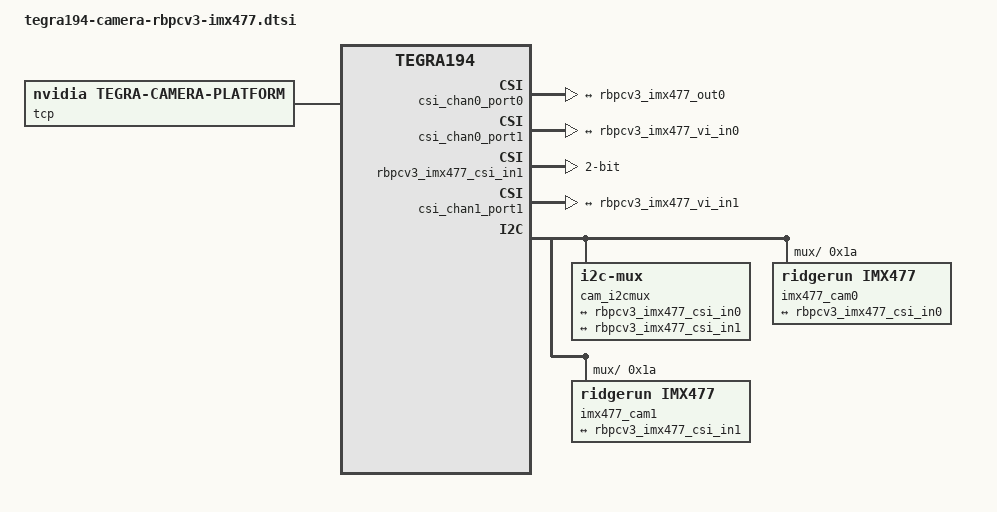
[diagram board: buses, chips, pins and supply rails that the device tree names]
/*
 * Copyright (c) 2020, RidgeRun.  All rights reserved.
 *
 * Contact us: support@ridgerun.com
 *
 * This program is free software; you can redistribute it and/or modify
 * it under the terms of the GNU General Public License as published by
 * the Free Software Foundation; either version 2 of the License, or
 * (at your option) any later version.
 *
 * This program is distributed in the hope that it will be useful, but WITHOUT
 * ANY WARRANTY; without even the implied warranty of MERCHANTABILITY or
 * FITNESS FOR A PARTICULAR PURPOSE.  See the GNU General Public License for
 * more details.
 *
 * You should have received a copy of the GNU General Public License
 * along with this program.  If not, see <http://www.gnu.org/licenses/>.
 */
#include <dt-bindings/media/camera.h>

/ {
	host1x {
		vi@15c10000  {
			num-channels = <2>;
			ports {
				#address-cells = <1>;
				#size-cells = <0>;
				vi_port0: port@0 {
					reg = <0>;
					rbpcv3_imx477_vi_in0: endpoint {
						status = "okay";
						port-index = <0>;
						bus-width = <2>;
						remote-endpoint = <&rbpcv3_imx477_csi_out0>;
					};
				};
				vi_port1: port@1 {
					reg = <1>;
					rbpcv3_imx477_vi_in1: endpoint {
						status = "okay";
						port-index = <2>;
						bus-width = <2>;
						remote-endpoint = <&rbpcv3_imx477_csi_out1>;
					};
				};
			};
		};

		nvcsi@15a00000 {
			num-channels = <2>;
			#address-cells = <1>;
			#size-cells = <0>;
			csi_chan0: channel@0 {
				reg = <0>;
				ports {
					#address-cells = <1>;
					#size-cells = <0>;
					csi_chan0_port0: port@0 {
						reg = <0>;
						status = "okay";
						rbpcv3_imx477_csi_in0: endpoint@0 {
							port-index = <0>;
							bus-width = <2>;
							remote-endpoint = <&rbpcv3_imx477_out0>;
						};
					};
					csi_chan0_port1: port@1 {
						reg = <1>;
						status = "okay";
						rbpcv3_imx477_csi_out0: endpoint@1 {
							status = "okay";
							remote-endpoint = <&rbpcv3_imx477_vi_in0>;
						};
					};
				};
			};
			csi_chan1: channel@1 {
				reg = <1>;
				ports {
					#address-cells = <1>;
					#size-cells = <0>;
					csi_chan1_port0: port@0 {
						reg = <0>;
						rbpcv3_imx477_csi_in1: endpoint@2 {
							port-index = <2>;
							bus-width = <2>;
							status = "okay";
							remote-endpoint = <&rbpcv3_imx477_out1>;
						};
					};
					csi_chan1_port1: port@1 {
						reg = <1>;
						status = "okay";
						rbpcv3_imx477_csi_out1: endpoint@3 {
							remote-endpoint = <&rbpcv3_imx477_vi_in1>;
						};
					};
				};
			};
		};
	};

	cam_i2cmux {
		i2c_0:i2c@0 {
			imx477_cam0: rbpcv3_imx477_a@1a {
				compatible = "ridgerun,imx477";
				/* I2C device address */
				reg = <0x1a>;

				/* V4L2 device node location */
				devnode = "video0";

				/* Physical dimensions of sensor */
				physical_w = "7.564";
				physical_h = "5.476";

				sensor_model = "imx477";

				use_sensor_mode_id = "true";

				mode0 { /* IMX477_MODE_4032X3040 */
					mclk_khz = "24000";
					num_lanes = "2";
					tegra_sinterface = "serial_a";
					phy_mode = "DPHY";
					discontinuous_clk = "no";
					dpcm_enable = "false";
					cil_settletime = "0";

					active_w = "4032";
					active_h = "3040";
					mode_type = "bayer";
					pixel_phase = "rggb";
					csi_pixel_bit_depth = "10";
					readout_orientation = "90";
					line_length = "9024";
					inherent_gain = "1";
					mclk_multiplier = "80";
					pix_clk_hz = "840000000";

					gain_factor = "16";
					framerate_factor = "1000000";
					exposure_factor = "1000000";
					min_gain_val = "16"; /* 1.00x */
					max_gain_val = "356"; /* 22x */
					step_gain_val = "1";
					default_gain = "16"; /* 1.00x */
					min_hdr_ratio = "1";
					max_hdr_ratio = "1";
					min_framerate = "2000000"; /* 2.0 fps */
					max_framerate = "30000000"; /* 30.0 fps */
					step_framerate = "1";
					default_framerate = "30000000"; /* 30.0 fps */
					min_exp_time = "13"; /* us */
					max_exp_time = "683709"; /* us */
					step_exp_time = "1";
					default_exp_time = "2495"; /* us */

					embedded_metadata_height = "2";
				};
				mode1 { /* IMX477_MODE_1920X1080 */
					mclk_khz = "24000";
					num_lanes = "2";
					tegra_sinterface = "serial_a";
					phy_mode = "DPHY";
					discontinuous_clk = "no";
					dpcm_enable = "false";
					cil_settletime = "0";

					active_w = "1920";
					active_h = "1080";
					mode_type = "bayer";
					pixel_phase = "rggb";
					csi_pixel_bit_depth = "10";
					readout_orientation = "90";
					line_length = "9024";
					inherent_gain = "1";
					mclk_multiplier = "80";
					pix_clk_hz = "840000000";

					gain_factor = "16";
					framerate_factor = "1000000";
					exposure_factor = "1000000";
					min_gain_val = "16"; /* 1.00x */
					max_gain_val = "356"; /* 22x */
					step_gain_val = "1";
					default_gain = "16"; /* 1.00x */
					min_hdr_ratio = "1";
					max_hdr_ratio = "1";
					min_framerate = "2000000"; /* 2.0 fps */
					max_framerate = "60000000"; /* 60.0 fps */
					step_framerate = "1";
					default_framerate = "60000000"; /* 60.0 fps */
					min_exp_time = "13"; /* us */
					max_exp_time = "683709"; /* us */
					step_exp_time = "1";
					default_exp_time = "2495"; /* us */

					embedded_metadata_height = "2";
				};
				mode2 { /* IMX477_MODE_1920X1440 */
					mclk_khz = "24000";
					num_lanes = "2";
					tegra_sinterface = "serial_a";
					phy_mode = "DPHY";
					discontinuous_clk = "no";
					dpcm_enable = "false";
					cil_settletime = "0";

					active_w = "1920";
					active_h = "1440";
					mode_type = "bayer";
					pixel_phase = "rggb";
					csi_pixel_bit_depth = "10";
					readout_orientation = "90";
					line_length = "6524";
					inherent_gain = "1";
					mclk_multiplier = "80";
					pix_clk_hz = "840000000";

					gain_factor = "16";
					framerate_factor = "1000000";
					exposure_factor = "1000000";
					min_gain_val = "16"; /* 1.00x */
					max_gain_val = "356"; /* 22x */
					step_gain_val = "1";
					default_gain = "16"; /* 1.00x */
					min_hdr_ratio = "1";
					max_hdr_ratio = "1";
					min_framerate = "2000000"; /* 2.0 fps */
					max_framerate = "60000000"; /* 60.0 fps */
					step_framerate = "1";
					default_framerate = "60000000"; /* 60.0 fps */
					min_exp_time = "13"; /* us */
					max_exp_time = "683709"; /* us */
					step_exp_time = "1";
					default_exp_time = "2495"; /* us */

					embedded_metadata_height = "2";
				};
				mode3 { /* IMX477_MODE_2028X1520 */
					mclk_khz = "24000";
					num_lanes = "2";
					tegra_sinterface = "serial_a";
					phy_mode = "DPHY";
					discontinuous_clk = "no";
					dpcm_enable = "false";
					cil_settletime = "0";

					active_w = "2028";
					active_h = "1520";
					mode_type = "bayer";
					pixel_phase = "rggb";
					csi_pixel_bit_depth = "10";
					readout_orientation = "90";
					line_length = "6524";
					inherent_gain = "1";
					mclk_multiplier = "80";
					pix_clk_hz = "840000000";

					gain_factor = "16";
					framerate_factor = "1000000";
					exposure_factor = "1000000";
					min_gain_val = "16"; /* 1.00x */
					max_gain_val = "356"; /* 22x */
					step_gain_val = "1";
					default_gain = "16"; /* 1.00x */
					min_hdr_ratio = "1";
					max_hdr_ratio = "1";
					min_framerate = "2000000"; /* 2.0 fps */
					max_framerate = "60000000"; /* 60.0 fps */
					step_framerate = "1";
					default_framerate = "60000000"; /* 60.0 fps */
					min_exp_time = "13"; /* us */
					max_exp_time = "683709"; /* us */
					step_exp_time = "1";
					default_exp_time = "2495"; /* us */

					embedded_metadata_height = "2";
				};

				ports {
					#address-cells = <1>;
					#size-cells = <0>;
					port@0 {
						reg = <0>;
						rbpcv3_imx477_out0: endpoint {
							port-index = <0>;
							bus-width = <2>;
							remote-endpoint = <&rbpcv3_imx477_csi_in0>;
						};
					};
				};
			};
		};
		i2c_1: i2c@1 {
			imx477_cam1: rbpcv3_imx477_c@1a {
				compatible = "ridgerun,imx477";
				/* I2C device address */
				reg = <0x1a>;

				/* V4L2 device node location */
				devnode = "video1";

				/* Physical dimensions of sensor */
				physical_w = "7.564";
				physical_h = "5.476";

				sensor_model = "imx477";

				use_sensor_mode_id = "true";

				mode0 { /* IMX477_MODE_4032X3040 */
					mclk_khz = "24000";
					num_lanes = "2";
					tegra_sinterface = "serial_c";
					phy_mode = "DPHY";
					discontinuous_clk = "no";
					dpcm_enable = "false";
					cil_settletime = "0";

					active_w = "4032";
					active_h = "3040";
					mode_type = "bayer";
					pixel_phase = "rggb";
					csi_pixel_bit_depth = "10";
					readout_orientation = "90";
					line_length = "9024";
					inherent_gain = "1";
					mclk_multiplier = "80";
					pix_clk_hz = "840000000";

					gain_factor = "16";
					framerate_factor = "1000000";
					exposure_factor = "1000000";
					min_gain_val = "16"; /* 1.00x */
					max_gain_val = "356"; /* 22x */
					step_gain_val = "1";
					default_gain = "16"; /* 1.00x */
					min_hdr_ratio = "1";
					max_hdr_ratio = "1";
					min_framerate = "2000000"; /* 2.0 fps */
					max_framerate = "30000000"; /* 30.0 fps */
					step_framerate = "1";
					default_framerate = "30000000"; /* 30.0 fps */
					min_exp_time = "13"; /* us */
					max_exp_time = "683709"; /* us */
					step_exp_time = "1";
					default_exp_time = "2495"; /* us */

					embedded_metadata_height = "2";
				};
				mode1 { /* IMX477_MODE_1920X1080 */
					mclk_khz = "24000";
					num_lanes = "2";
					tegra_sinterface = "serial_c";
					phy_mode = "DPHY";
					discontinuous_clk = "no";
					dpcm_enable = "false";
					cil_settletime = "0";

					active_w = "1920";
					active_h = "1080";
					mode_type = "bayer";
					pixel_phase = "rggb";
					csi_pixel_bit_depth = "10";
					readout_orientation = "90";
					line_length = "9024";
					inherent_gain = "1";
					mclk_multiplier = "80";
					pix_clk_hz = "840000000";

					gain_factor = "16";
					framerate_factor = "1000000";
					exposure_factor = "1000000";
					min_gain_val = "16"; /* 1.00x */
					max_gain_val = "356"; /* 22x */
					step_gain_val = "1";
					default_gain = "16"; /* 1.00x */
					min_hdr_ratio = "1";
					max_hdr_ratio = "1";
					min_framerate = "2000000"; /* 2.0 fps */
					max_framerate = "60000000"; /* 60.0 fps */
					step_framerate = "1";
					default_framerate = "60000000"; /* 60.0 fps */
					min_exp_time = "13"; /* us */
					max_exp_time = "683709"; /* us */
					step_exp_time = "1";
					default_exp_time = "2495"; /* us */

					embedded_metadata_height = "2";
				};
				mode2 { /* IMX477_MODE_1920X1440 */
					mclk_khz = "24000";
					num_lanes = "2";
					tegra_sinterface = "serial_c";
					phy_mode = "DPHY";
					discontinuous_clk = "no";
					dpcm_enable = "false";
					cil_settletime = "0";

					active_w = "1920";
					active_h = "1440";
					mode_type = "bayer";
					pixel_phase = "rggb";
					csi_pixel_bit_depth = "10";
					readout_orientation = "90";
					line_length = "6524";
					inherent_gain = "1";
					mclk_multiplier = "80";
					pix_clk_hz = "840000000";

					gain_factor = "16";
					framerate_factor = "1000000";
					exposure_factor = "1000000";
					min_gain_val = "16"; /* 1.00x */
					max_gain_val = "356"; /* 22x */
					step_gain_val = "1";
					default_gain = "16"; /* 1.00x */
					min_hdr_ratio = "1";
					max_hdr_ratio = "1";
					min_framerate = "2000000"; /* 2.0 fps */
					max_framerate = "60000000"; /* 60.0 fps */
					step_framerate = "1";
					default_framerate = "60000000"; /* 60.0 fps */
					min_exp_time = "13"; /* us */
					max_exp_time = "683709"; /* us */
					step_exp_time = "1";
					default_exp_time = "2495"; /* us */

					embedded_metadata_height = "2";
				};
				mode3 { /* IMX477_MODE_2028X1520 */
					mclk_khz = "24000";
					num_lanes = "2";
					tegra_sinterface = "serial_c";
					phy_mode = "DPHY";
					discontinuous_clk = "no";
					dpcm_enable = "false";
					cil_settletime = "0";

					active_w = "2028";
					active_h = "1520";
					mode_type = "bayer";
					pixel_phase = "rggb";
					csi_pixel_bit_depth = "10";
					readout_orientation = "90";
					line_length = "6524";
					inherent_gain = "1";
					mclk_multiplier = "80";
					pix_clk_hz = "840000000";

					gain_factor = "16";
					framerate_factor = "1000000";
					exposure_factor = "1000000";
					min_gain_val = "16"; /* 1.00x */
					max_gain_val = "356"; /* 22x */
					step_gain_val = "1";
					default_gain = "16"; /* 1.00x */
					min_hdr_ratio = "1";
					max_hdr_ratio = "1";
					min_framerate = "2000000"; /* 2.0 fps */
					max_framerate = "60000000"; /* 60.0 fps */
					step_framerate = "1";
					default_framerate = "60000000"; /* 60.0 fps */
					min_exp_time = "13"; /* us */
					max_exp_time = "683709"; /* us */
					step_exp_time = "1";
					default_exp_time = "2495"; /* us */

					embedded_metadata_height = "2";
				};

				ports {
					#address-cells = <1>;
					#size-cells = <0>;
					port@0 {
						reg = <0>;
						rbpcv3_imx477_out1: endpoint {
							port-index = <2>;
							bus-width = <2>;
							remote-endpoint = <&rbpcv3_imx477_csi_in1>;
						};
					};
				};
			};
		};
	};
};
/ {
	tcp: tegra-camera-platform {
		compatible = "nvidia, tegra-camera-platform";
		num_csi_lanes = <4>;
		max_lane_speed = <1500000>;
		min_bits_per_pixel = <10>;
		vi_peak_byte_per_pixel = <2>;
		vi_bw_margin_pct = <25>;
		max_pixel_rate = <7500000>;
		isp_peak_byte_per_pixel = <5>;
		isp_bw_margin_pct = <25>;

		modules {
			cam_module0: module0 {
				badge = "jakku_front_RBP194";
				position = "front";
				orientation = "1";
				status = "okay";
				cam_module0_drivernode0: drivernode0 {
					status = "okay";
					pcl_id = "v4l2_sensor";
					devname = "imx477 9-001a";
					proc-device-tree = "/proc/device-tree/cam_i2cmux/i2c@0/rbpcv3_imx477_a@1a";
				};
			};
			cam_module1: module1 {
				badge = "jakku_rear_RBP194";
				position = "rear";
				orientation = "1";
				status = "okay";
				cam_module1_drivernode0: drivernode0 {
					status = "okay";
					pcl_id = "v4l2_sensor";
					devname = "imx477 10-001a";
					proc-device-tree = "/proc/device-tree/cam_i2cmux/i2c@1/rbpcv3_imx477_c@1a";
				};
			};
		};
	};
};
